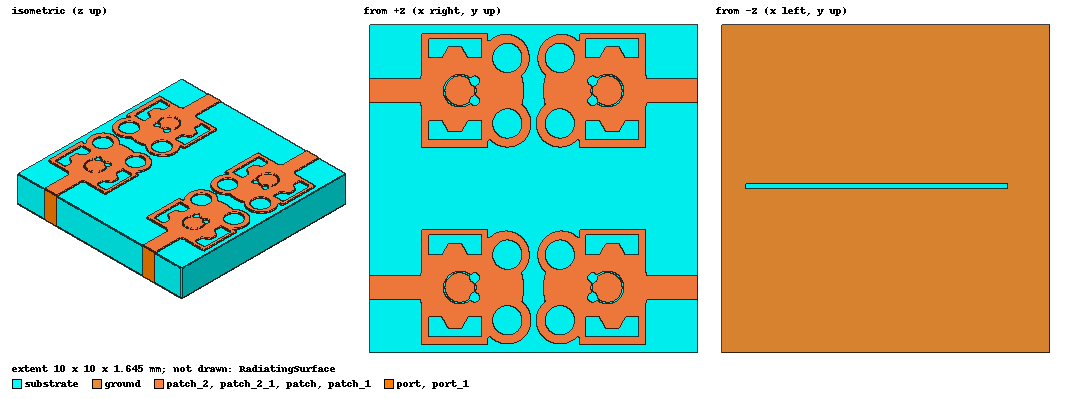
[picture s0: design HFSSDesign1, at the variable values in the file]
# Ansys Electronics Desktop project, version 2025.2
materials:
  vacuum: permittivity=1
  copper: permeability=0.999991 conductivity=58000000
  Rogers RT/duroid 5880 (tm): permittivity=2.2 dielectric_loss_tangent=0.0009
  air: permittivity=1.0006 permeability=1.0000004
  FR4_epoxy: permittivity=4.4 dielectric_loss_tangent=0.02

design HFSSDesign1 (HFSS, HFSS Terminal Network, model units mm)
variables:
  Lg = 5mm
  Wg = 4mm
  Hp = 0.035mm
  Hs = 1.575mm
  a = 0.3mm
  Rp = 1.6mm
  Wf = 0.75mm
  Lf = 1.65mm
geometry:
  ground [copper] = box(corner=(0mm, 0mm, 0mm), size=(10mm, 10mm, Hp))
  substrate [FR4_epoxy] = box(corner=(0mm, 0mm, Hp), size=(10mm, 10mm, Hs))
  patch [copper] = cylinder(axis=Z, base_centre=(a+Rp, Wg/2, Hp+Hs), radius=Rp, height=Hp)
  feedline = box(corner=(a/2+2*Rp, Wg/2-Wf/2, Hp+Hs), size=(Lf, Wf, Hp))
  patch.unite(feedline)
  port = rectangle(corner=(Lg, Wg/2-Wf/2, Hp+Hs), y_size=Wf, z_size=-(Hp+Hs))
  RadiatingSurface [air] = region(absolute_offset=3.5714286mm on all sides)
  Cylinder2 = cylinder(axis=Z, base_centre=(0.8mm, 1mm, Hs+Hp), radius=0.72111026mm, height=Hp)
  patch.unite(Cylinder2)
  Cylinder3 = cylinder(axis=Z, base_centre=(0.85mm, 3mm, Hs+Hp), radius=0.72111026mm, height=Hp)
  patch.unite(Cylinder3)
  Box3 = box(corner=(1.4mm, 0.25mm, Hs+Hp), size=(2mm, 3.5mm, Hp))
  patch.unite(Box3)
  Box4 = box(corner=(1.6mm, 0.5mm, 1.61mm), size=(1.6mm, 0.6mm, Hp))
  patch.subtract(Box4)
  Box5 = box(corner=(1.6mm, 3mm, Hs+Hp), size=(1.6mm, 0.6mm, Hp))
  patch.subtract(Box5)
  Cylinder4 = cylinder(axis=Z, base_centre=(0.8mm, 1mm, Hs+Hp), radius=0.4472136mm, height=Hp)
  Cylinder6 = cylinder(axis=Z, base_centre=(0.8mm, 3mm, 1.61mm), radius=0.4472136mm, height=0.035mm)
  patch.subtract(Cylinder6)
  patch.subtract(Cylinder4)
  Cylinder7 = cylinder(axis=Z, base_centre=(2.25mm, 2mm, Hs+Hp), radius=0.5mm, height=Hp)
  patch.subtract(Cylinder7)
  C8 = cylinder(axis=Z, base_centre=(2.25mm, 2mm, Hs+Hp), radius=0.45mm, height=Hp)
  patch.unite(C8)
  C9 = cylinder(axis=Z, base_centre=(1.8mm, 1.7mm, Hs+Hp), radius=0.15mm, height=Hp)
  C10 = cylinder(axis=Z, base_centre=(1.8mm, 2.3mm, Hs+Hp), radius=0.15mm, height=Hp)
  patch.subtract(C10, C9)
  C11 = cylinder(axis=Z, base_centre=(2.4mm, 1.1mm, Hs+Hp), radius=0.4mm, height=Hp, segments=6)
  C12 = cylinder(axis=Z, base_centre=(2.4mm, 3mm, Hs+Hp), radius=0.4mm, height=Hp, segments=6)
  patch.unite(C11, C12)
  port.move(5mm, 4.4408921e-16mm, 0mm)
  patch.move(5mm, 0mm, 0mm)
  patch_1 [copper] = patch.duplicate_along_line(step=(0mm, 6mm, 0mm), total=2)
  port_1 = port.duplicate_along_line(step=(0mm, 6mm, 0mm), total=2)
  patch_2 [copper] = patch.duplicate_mirror(point=(7.2599837mm, 2mm, 1.645mm), normal=(-1mm, 0mm, -9.6544548e-16mm))
  port_2 = port.duplicate_mirror(point=(7.2599837mm, 2mm, 1.645mm), normal=(-1mm, 0mm, -9.6544548e-16mm))
  [patch_2, port_2].move(-4.4599837mm, 0mm, 0mm)
  [patch_2, port_2].move(-0.059983727mm, 0mm, 0mm)
  patch_2_1 [copper] = patch_2.duplicate_along_line(step=(0mm, 6mm, 0mm), total=2)
  port_2_1 = port_2.duplicate_along_line(step=(0mm, 6mm, 0mm), total=2)
  Box7 = box(corner=(1.27mm, 5mm, 0), size=(8mm, 0.18mm, 0.035mm))
  ground.subtract(Box7)
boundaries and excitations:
  Open1: Radiation Objects=RadiatingSurface
  port_T1: Terminal port=1 Edges=patch.edge(at (10, 2, 1.61)) TerminalResistance=50ohm
  port_T2: Terminal port=2 Edges=patch_1.edge(at (10, 8, 1.61)) TerminalResistance=50ohm
  port_T3: Terminal port=3 Edges=patch_2.edge(at (0, 2, 1.61)) TerminalResistance=50ohm
  port_T4: Terminal port=4 Edges=patch_2_1.edge(at (0, 8, 1.61)) TerminalResistance=50ohm
  1: Lumped Port Faces=port.face(at (10, 2, 0.805)) LumpedPortType=Terminal Impedance=50ohm
  2: Lumped Port Faces=port_1.face LumpedPortType=Terminal Impedance=50ohm
  3: Lumped Port Faces=port_2.face(at (0, 2, 0.805)) LumpedPortType=Terminal Impedance=50ohm
  4: Lumped Port Faces=port_2_1.face LumpedPortType=Terminal Impedance=50ohm
  reference conductors: ground
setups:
  Setup1: HfssDriven Frequency=28GHz MaxDeltaS=0.02 MaximumPasses=20 MinimumPasses=1 MinimumConvergedPasses=1 PercentRefinement=30 BasisOrder=1 PortAccuracy=2 DrivenSolverType="Direct Solver"
    sweep Sweep: 20GHz to 45GHz, 401 points; Type=Fast SaveFields
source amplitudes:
  1:1: 1 0deg
  2:1, 3:1, 4:1: 0V 0deg
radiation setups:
  3D: Infinite Sphere Theta=0deg..180deg step 2deg Phi=-180deg..180deg step 2deg
  Elevation: Infinite Sphere Theta=-180deg..180deg step 1deg Phi=0deg..90deg step 90deg
  Azimuth: Infinite Sphere Theta=90deg..90deg step 0deg Phi=-180deg..180deg step 1deg
  Infinite Sphere1: Infinite Sphere Theta=0deg..360deg step 10deg Phi=0..360deg step 10deg
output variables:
  TARC = sqrt((mag(S(1,1)+S(1,2))^2 + mag(S(2,1)+S(2,2))^2)/2)
  ECC = (mag(conjg(S(1,1))*S(1,2)+conjg(S(2,1))*S(2,2)))^2/((1-mag(S(1,1))^2-mag(S(2,1))^2)*(1-mag(S(2,2))^2-mag(S(1,2))^2))
  DG = 10*sqrt(1 - mag(ECC)^2)
  CCL = -(log10((1-mag(S(1,1))^2-mag(S(1,2))^2)*(1-mag(S(2,2))^2-mag(S(2,1))^2)))/log10(2)
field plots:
  Mag_Jsurf1: Jsurf over patch.face(all 46) patch_1.face(all 46) patch_2_1.face(all 46) patch_2.face(all 46) on Setup1 : LastAdaptive at Freq=28GHz Phase=0deg
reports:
  Gain Plot1: dB(GainTotal) vs Phi, Theta on Setup1 : LastAdaptive, 3D [Freq=28GHz]
  Terminal S Parameter Plot1: dB(St(port_T1,port_T1)), dB(St(port_T2,port_T2)), dB(St(port_T3,port_T3)), dB(St(port_T4,port_T4)) vs Freq on Setup1 : Sweep; markers m1 at 30.5GHz, m2 at 34GHz, m3 at 32.8125GHz
  Terminal S Parameter S(2,1): dB(St(port_T2,port_T1)) vs Freq on Setup1 : Sweep; markers m1 at 32.75GHz
  Terminal VSWR Plot1: dB(VSWRt(port_T1)), dB(VSWRt(port_T2)), dB(VSWRt(port_T3)), dB(VSWRt(port_T4)) vs Freq on Setup1 : Sweep; markers m1 at 32.75GHz
  rE Plot1: dB(rETotal) vs Phi, Theta on Setup1 : LastAdaptive, 3D [Freq=28GHz]
  Directivity Plot1: dB(DirTotal) vs Phi, Theta on Setup1 : LastAdaptive, 3D [Freq=28GHz]
  TARC: dB10(TARC) vs Freq on Setup1 : Sweep
  DG: dB10(DG) vs Freq on Setup1 : Sweep
  ECC: ECC vs Freq on Setup1 : Sweep
  ccL: CCL vs Freq on Setup1 : Sweep
  E-Plane: dB(GainTotal) vs Theta on Setup1 : LastAdaptive, 3D [Phi=0deg Freq=28GHz]
  H-Plane: dB(GainTotal) vs Theta on Setup1 : LastAdaptive, 3D [Phi=90deg Freq=28GHz]
